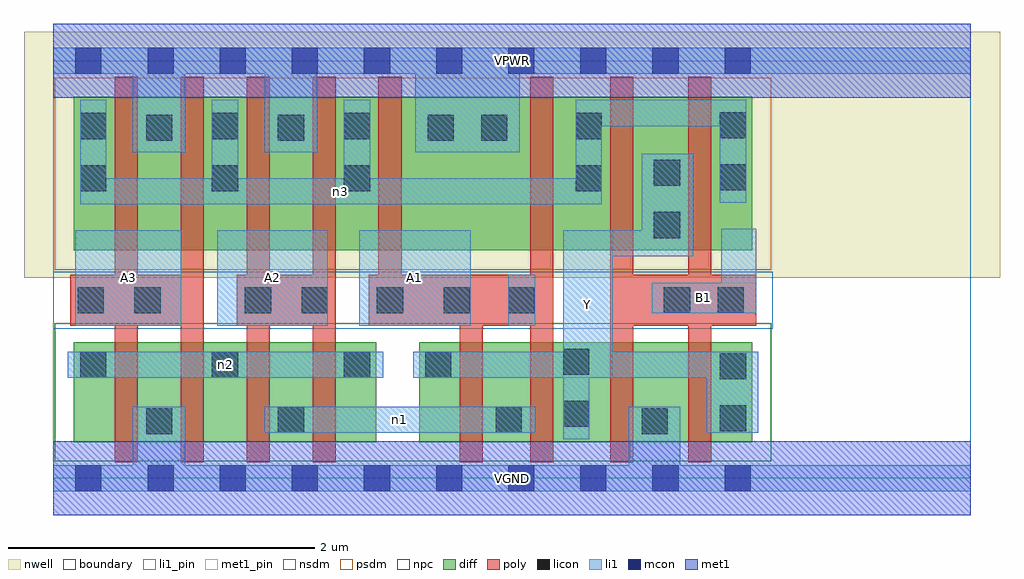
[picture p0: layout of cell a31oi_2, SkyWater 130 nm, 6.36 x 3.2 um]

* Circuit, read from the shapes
.subckt a31oi_2 A1 A2 A3 B1 VGND VPWR Y n1 n2 n3
XM1 VGND A3 n2 VSUBS sky130_fd_pr__nfet_01v8 w=0.65 l=0.15 m=2
XM2 n1 A2 n2 VSUBS sky130_fd_pr__nfet_01v8 w=0.65 l=0.15 m=2
XM3 n1 A1 Y VSUBS sky130_fd_pr__nfet_01v8 w=0.65 l=0.15 m=2
XM4 VGND B1 Y VSUBS sky130_fd_pr__nfet_01v8 w=0.65 l=0.15 m=2
XM5 VPWR A3 n3 n4 sky130_fd_pr__pfet_01v8 w=1 l=0.15 m=2
XM6 VPWR A2 n3 n4 sky130_fd_pr__pfet_01v8 w=1 l=0.15 m=2
XM7 VPWR A1 n3 n4 sky130_fd_pr__pfet_01v8 w=1 l=0.15 m=2
XM8 Y B1 n3 n4 sky130_fd_pr__pfet_01v8 w=1 l=0.15 m=2
.ends

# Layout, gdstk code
import gdstk
lib = gdstk.Library(unit=1e-6, precision=1e-09)
def R(c, l, rs):  # rectangles x0, y0, x1, y1
    for r in rs: c.add(gdstk.rectangle(r[:2], r[2:], *l))
def A(c, l, x, y, w, h, nx, ny, dx, dy):  # array of equal rectangles
    R(c, l, [(x+i*dx, y+j*dy, x+i*dx+w, y+j*dy+h) for i in range(nx) for j in range(ny)])
nwell = (64, 20)
diff = (65, 20)
poly = (66, 20)
licon = (66, 44)
li1_pin = (67, 16)
li1 = (67, 20)
mcon = (67, 44)
met1_pin = (68, 16)
met1 = (68, 20)
nsdm = (93, 44)
psdm = (94, 20)
npc = (95, 20)
boundary = (235, 4)

a31oi_2 = lib.new_cell('a31oi_2')
R(a31oi_2, nwell, [(-0.19,1.305,6.17,2.91), (0,1.305,5.98,2.91)])
R(a31oi_2, diff, [(0.135,0.235,2.105,0.885), (2.385,0.235,4.555,0.885), (0.135,1.485,4.555,2.485)])
A(a31oi_2, poly, 0.4, 0.105, 0.15, 2.51, 4, 1, 0.43, 0)
R(a31oi_2, poly, [(2.65,0.105,2.8,1.325), (3.11,0.105,3.26,2.615), (3.63,0.105,3.78,2.615), (4.14,0.105,4.29,2.615), (0.11,0.995,0.98,1.325), (1.195,0.995,1.84,1.325), (2.055,0.995,3.26,1.325), (2.12,0.995,2.27,2.615), (3.63,0.995,4.58,1.325)])
A(a31oi_2, licon, 0.175, 0.655, 0.17, 0.17, 3, 2, 0.86, 1.215)
A(a31oi_2, licon, 0.175, 2.21, 0.17, 0.17, 3, 1, 0.86, 0)
R(a31oi_2, licon, [(0.605,0.285,0.775,0.455), (3.835,0.285,4.005,0.455), (1.465,0.295,1.635,0.465), (2.885,0.295,3.055,0.465), (4.345,0.305,4.515,0.475), (3.325,0.335,3.495,0.505), (4.345,0.645,4.515,0.815), (2.425,0.655,2.595,0.825), (3.325,0.675,3.495,0.845), (0.16,1.075,0.33,1.245), (0.53,1.075,0.7,1.245), (1.25,1.075,1.42,1.245), (1.62,1.075,1.79,1.245), (2.11,1.075,2.28,1.245), (2.545,1.075,2.715,1.245), (2.965,1.075,3.135,1.245), (3.98,1.075,4.15,1.245), (4.33,1.075,4.5,1.245), (3.915,1.565,4.085,1.735), (3.405,1.87,3.575,2.04), (4.345,1.875,4.515,2.045), (3.915,1.905,4.085,2.075), (0.605,2.2,0.775,2.37), (1.465,2.2,1.635,2.37), (2.44,2.2,2.61,2.37), (2.79,2.2,2.96,2.37), (3.405,2.21,3.575,2.38), (4.345,2.215,4.515,2.385)])
R(a31oi_2, li1_pin, [(3.325,0.655,3.645,1.615), (0.145,0.995,0.835,1.615), (1.07,0.995,1.79,1.615), (1.995,0.995,2.72,1.615), (3.9,1.075,4.58,1.275)])
A(a31oi_2, li1, 0.175, 1.785, 0.17, 0.68, 3, 1, 0.86, 0)
R(a31oi_2, li1, [(0,-0.085,5.98,0.085), (0.52,-0.085,0.86,0.465), (3.75,-0.085,4.085,0.465), (3.325,0.255,3.495,1.615), (1.38,0.295,3.14,0.465), (4.26,0.295,4.595,0.825), (0.095,0.655,2.15,0.825), (2.345,0.655,4.595,0.825), (3.325,0.655,3.645,1.615), (0.145,0.995,0.835,1.615), (1.07,0.995,1.79,1.615), (1.995,0.995,2.72,1.615), (2.965,0.995,3.14,1.325), (3.9,1.075,4.58,1.275), (4.355,1.075,4.58,1.625), (3.325,1.445,4.17,1.615), (3.835,1.445,4.17,2.115), (0.175,1.785,3.575,1.955), (3.405,1.785,3.575,2.465), (4.345,1.795,4.515,2.465), (0.52,2.125,0.86,2.805), (1.38,2.125,1.72,2.805), (2.36,2.125,3.04,2.805), (3.405,2.295,4.515,2.465), (0,2.635,5.98,2.805)])
A(a31oi_2, mcon, 0.145, -0.085, 0.17, 0.17, 10, 2, 0.47, 2.72)
R(a31oi_2, met1_pin, [(0,-0.24,5.98,0.24), (0,2.48,5.98,2.96)])
R(a31oi_2, met1, [(0,-0.24,5.98,0.24), (0,2.48,5.98,2.96)])
R(a31oi_2, nsdm, [(0.01,0.11,4.68,1.01)])
R(a31oi_2, psdm, [(0.01,1.36,4.68,2.61)])
R(a31oi_2, npc, [(0,0.975,4.69,1.345)])
R(a31oi_2, boundary, [(0,0,5.98,2.72)])
a31oi_2.add(gdstk.Label('A1', (2.357,1.305), layer=67, texttype=5))
a31oi_2.add(gdstk.Label('A2', (1.43,1.305), layer=67, texttype=5))
a31oi_2.add(gdstk.Label('A3', (0.49,1.305), layer=67, texttype=5))
a31oi_2.add(gdstk.Label('B1', (4.24,1.175), layer=67, texttype=5))
a31oi_2.add(gdstk.Label('Y', (3.485,1.135), layer=67, texttype=5))
a31oi_2.add(gdstk.Label('n1', (2.26,0.38), layer=67, texttype=5))
a31oi_2.add(gdstk.Label('n2', (1.122,0.74), layer=67, texttype=5))
a31oi_2.add(gdstk.Label('n3', (1.875,1.87), layer=67, texttype=5))
a31oi_2.add(gdstk.Label('VPWR', (2.99,2.72), layer=68, texttype=5))
a31oi_2.add(gdstk.Label('VGND', (2.99,0), layer=68, texttype=5))
a31oi_2.add(gdstk.Label('A1', (2.357,1.305), layer=67, texttype=16))
a31oi_2.add(gdstk.Label('A2', (1.43,1.305), layer=67, texttype=16))
a31oi_2.add(gdstk.Label('A3', (0.49,1.305), layer=67, texttype=16))
a31oi_2.add(gdstk.Label('B1', (4.24,1.175), layer=67, texttype=16))
a31oi_2.add(gdstk.Label('Y', (3.485,1.135), layer=67, texttype=16))
a31oi_2.add(gdstk.Label('VPWR', (2.99,2.72), layer=68, texttype=16))
a31oi_2.add(gdstk.Label('VGND', (2.99,0), layer=68, texttype=16))

lib.write_gds('a31oi_2.gds')
